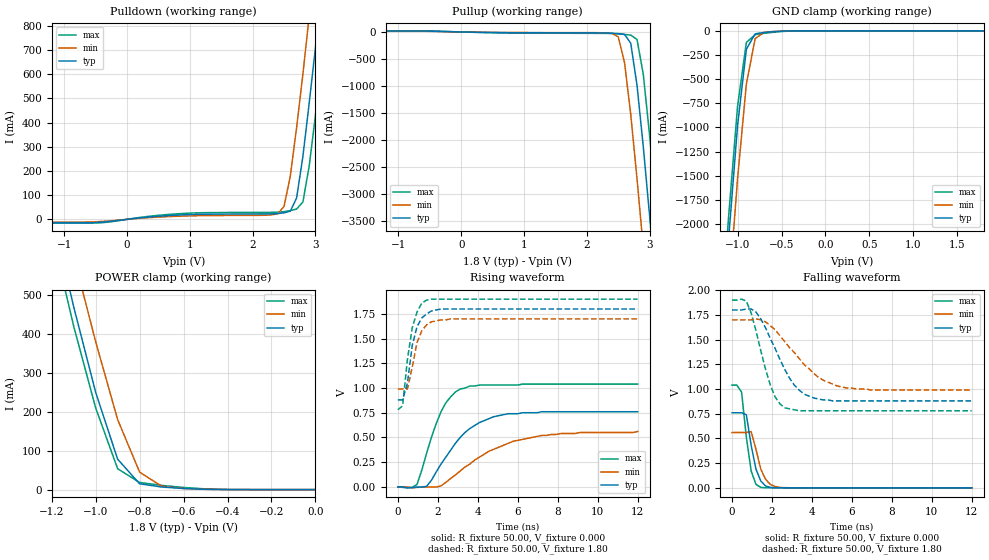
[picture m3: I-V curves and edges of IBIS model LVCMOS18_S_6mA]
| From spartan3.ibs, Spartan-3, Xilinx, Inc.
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|   Model LVCMOS18_S_6mA
[Model]   LVCMOS18_S_6mA
Model_type   I/O
Polarity   Non-Inverting
Enable   Active-Low
Vinl =   0.40V
Vinh =   1.19V
Vmeas =   0.90V
Cref =  0.000F
Rref =  1.00M
Vref =  0.000V
C_comp   6.38pF   4.60pF   8.23pF
[Temperature Range]   25.00   85.00   0.000
[Voltage Range]   1.80V   1.70V   1.90V
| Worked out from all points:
|   slope of the pulldown table from 0 to 0.27 V, typ, clamps not added: 34.9 ohm
|   slope of the pullup table from 0 to 0.27 V, typ, clamps not added: 41.7 ohm
|   GND clamp passes 1 mA (typ) near -0.42 V on its own axis
|   POWER clamp passes 1 mA (typ) near -0.52 V on its own axis
|   rising waveform, R_fixture 50.00, V_fixture 0.000: 20-80 % time 1.82ns typ, 2.79ns min, 1.1ns max; typ from 0 V to 0.76 V
|   rising waveform, R_fixture 50.00, V_fixture 1.80: 20-80 % time 466ps typ, 521ps min, 485ps max; typ from 0.88 V to 1.8 V
|   falling waveform, R_fixture 50.00, V_fixture 0.000: 20-80 % time 454ps typ, 500ps min, 381ps max; typ from 0.76 V to 0 V
|   falling waveform, R_fixture 50.00, V_fixture 1.80: 20-80 % time 1.35ns typ, 1.92ns min, 907ps max; typ from 1.8 V to 0.88 V
[Pulldown]
| voltage   I(typ)   I(min)   I(max)
-1.8V     -14.31mA   -11.41mA   -15.85mA
-400mV    -11.6mA    -8.73mA    -13.92mA
2.4V      23.97mA    23.07mA    29.67mA
2.5V      27.01mA    53.48mA    31.9mA
2.6V      33.74mA    180mA      36.22mA
2.7V      88.45mA    380mA      42.59mA
2.8V      260mA      600mA      71.81mA
2.9V      480mA      840mA      220mA
3V        710mA      1.09A      430mA
3.1V      960mA      1.34A      660mA
3.2V      1.21A      1.59A      910mA
3.6V      2.23A      2.61A      1.93A
[Pullup]
| voltage   I(typ)   I(min)   I(max)
-1.8V     18.32mA    13.87mA    21.73mA
-700mV    18.32mA    13.87mA    21.73mA
2.4V      -23.74mA   -26.64mA   -29.7mA
2.5V      -30.99mA   -89.13mA   -36.6mA
2.6V      -44.57mA   -560mA     -46.11mA
2.7V      -210mA     -1.53A     -58.44mA
2.8V      -990mA     -2.72A     -140mA
2.9V      -2.13A     -4A        -790mA
3V        -3.4A      -5.32A     -1.91A
3.1V      -4.73A     -6.67A     -3.17A
3.2V      -6.08A     -8.03A     -4.49A
3.6V      -11.63A    -13.59A    -10.01A
[GND_clamp]
| voltage   I(typ)   I(min)   I(max)
-1.8V     -11.63A    -12.19A    -11.41A
-1.2V     -3.4A      -4A        -3.16A
-1.1V     -2.13A     -2.72A     -1.9A
-1V       -980mA     -1.53A     -780mA
-900mV    -190mA     -550mA     -120mA
-800mV    -31.19mA   -80.77mA   -39.39mA
-700mV    -17.06mA   -16.51mA   -26.41mA
-500mV    -3.37mA    -3.04mA    -7.33mA
-300mV    -41.19uA   -76.59uA   -170uA
1.8V      2.35nA     77.51nA    8.51nA
[POWER_clamp]
| voltage   I(typ)   I(min)   I(max)
-1.8V     2.23A      2.36A      2.18A
-1.2V     710mA      840mA      660mA
-1.1V     470mA      600mA      420mA
-1V       250mA      380mA      210mA
-900mV    78.2mA     180mA      53.65mA
-800mV    14.96mA    44.95mA    18.34mA
-700mV    6.69mA     8.78mA     10.89mA
-600mV    2.8mA      2.96mA     5.51mA
-400mV    81.59uA    140uA      290uA
0V        2.35nA     16.73nA    9.79nA
[Ramp]
| variable   typ   min   max
dV/dt_r   0.46/1.80n   0.33/2.74n   0.62/1.08n
dV/dt_f   0.55/1.36n   0.43/1.95n   0.67/0.90n
R_load = 50.00
[Rising Waveform]
R_fixture = 50.00
V_fixture = 0.000
| time   V(typ)   V(min)   V(max)
0s        0V         0V         0V
960ps     -3.46mV    -5.8mV     23.22mV
1.44ns    4.88mV     -1.36mV    340mV
2.16ns    230mV      9.76mV     760mV
2.64ns    370mV      83.74mV    910mV
3.12ns    500mV      160mV      990mV
4.08ns    650mV      300mV      1.03V
5.76ns    740mV      460mV      1.03V
8.16ns    760mV      540mV      1.04V
12ns      760mV      560mV      1.04V
[Rising Waveform]
R_fixture = 50.00
V_fixture = 1.80
V_fixture_min = 1.70
V_fixture_max = 1.90
| time   V(typ)   V(min)   V(max)
0s        880mV      990mV      780mV
240ps     880mV      990mV      820mV
480ps     1.05V      990mV      1.29V
720ps     1.43V      1.21V      1.61V
960ps     1.62V      1.46V      1.77V
1.2ns     1.71V      1.58V      1.86V
1.44ns    1.75V      1.64V      1.89V
1.68ns    1.78V      1.67V      1.9V
2.64ns    1.8V       1.7V       1.9V
12ns      1.8V       1.7V       1.9V
[Falling Waveform]
R_fixture = 50.00
V_fixture = 0.000
| time   V(typ)   V(min)   V(max)
0s        760mV      560mV      1.04V
240ps     760mV      560mV      1.04V
480ps     760mV      560mV      970mV
720ps     740mV      560mV      510mV
960ps     430mV      570mV      170mV
1.2ns     190mV      390mV      34.96mV
1.44ns    69.93mV    190mV      4.6mV
1.92ns    4.51mV     34.35mV    790uV
2.4ns     940uV      4.71mV     400uV
12ns      0V         0V         0V
[Falling Waveform]
R_fixture = 50.00
V_fixture = 1.80
V_fixture_min = 1.70
V_fixture_max = 1.90
| time   V(typ)   V(min)   V(max)
0s        1.8V       1.7V       1.9V
720ps     1.81V      1.7V       1.89V
1.2ns     1.78V      1.71V      1.59V
1.92ns    1.51V      1.64V      1.04V
2.16ns    1.41V      1.6V       920mV
2.64ns    1.2V       1.48V      810mV
3.6ns     950mV      1.25V      780mV
4.32ns    900mV      1.12V      780mV
5.28ns    880mV      1.03V      780mV
12ns      880mV      990mV      780mV
